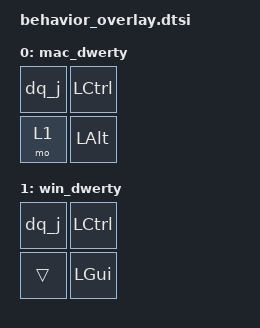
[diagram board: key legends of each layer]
/* Regression guard for the Mac/Win slide switch.
 *
 * The slide switch is a continuously-held GPIO that holds the matching Win
 * base (layer 1 here). Mirroring max/, that Win base is a FULL Dwerty base
 * with its own &dq_* morphs - not a transparent overlay - so typing the
 * Dvorak-Qwerty morph still fires on either OS half, and only the bottom-row
 * modifier order (Mac LALT <-> Win LGUI) changes. The original bug pointed the
 * switch at a non-transparent DVORAK layer, which silently disabled the morph.
 *
 * Matrix:
 *   (0,0) dq_j   - morph: Dvorak J normally, Qwerty C under Ctrl/Alt/GUI
 *   (0,1) LCTRL
 *   (1,0) mo 1   - the "slide switch": momentarily holds the Win Dwerty base
 *   (1,1) LALT (Mac) / LGUI (Win) - the Mac<->Win modifier swap
 */
/ {
    behaviors {
        dq_j: dvorak_qwerty_j {
            compatible = "zmk,behavior-mod-morph";
            #binding-cells = <0>;
            bindings = <&kp J>, <&kp C>;
            mods = <(MOD_LCTL|MOD_RCTL|MOD_LALT|MOD_RALT|MOD_LGUI|MOD_RGUI)>;
            keep-mods = <(MOD_LCTL|MOD_RCTL|MOD_LALT|MOD_RALT|MOD_LGUI|MOD_RGUI)>;
        };
    };

    keymap {
        compatible = "zmk,keymap";
        mac_dwerty {
            bindings = <
                &dq_j      &kp LCTRL
                &mo 1      &kp LALT
            >;
        };
        win_dwerty {
            /* full Dwerty base: same morph, only the modifier order is Win */
            bindings = <
                &dq_j      &kp LCTRL
                &trans     &kp LGUI
            >;
        };
    };
};
